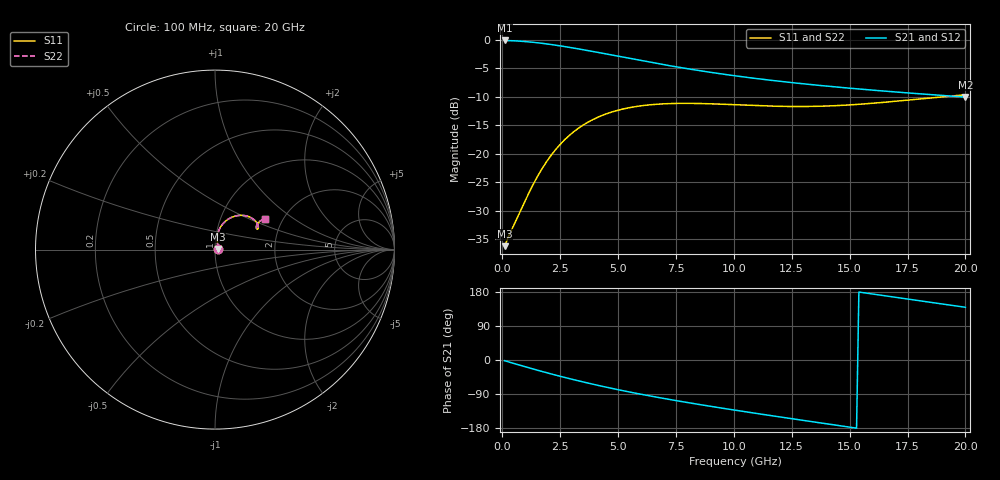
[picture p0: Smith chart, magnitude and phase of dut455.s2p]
! Touchstone file exported from HFSS 2024.1.0
!  File:  C:/UserFiles/LocalFiles/RDL_TSV_Batchsim/temp_RDL_TSV_455_1779726127.aedt
!  Generated:  12:40:04 AM May 26, 2026
!  Design:  RDL_TSV
!  Project:  temp_RDL_TSV_455_1779726127
!  Setup:  Setup1
!  Solution:  Sweep
! Variables:
!  dtsv = 5.34um
!  hbump = 3um
!  htsv = 89.49um
!  ldown = 426.41um
!  lrdl = 450.29um
!  p = 40
!  p1 = 59.46um
!  rhole = 10um
!  subl = 3080.39um
!  t = 450um
!  tdown = 4.63um
!  trdl = 2.62um
!  viad = 10um
!  wdown = 28um
!  wrdl = 28.14um
!  xbump = 18um
# GHz S MA R 50.000000
! Terminal data exported
! Port[1] = TM1_1_T1
! Port[2] = TM1_4_T1
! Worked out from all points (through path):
!   200 points, 100 MHz to 20 GHz, reference 50 ohm
!   highest |S21| = -0.13 dB at 100 MHz (marker M1); lowest = -10.1 dB at 20 GHz (marker M2)
!   group delay of S21, straight-line fit = 29 ps
!   lowest |S11| = -36.2 dB at 100 MHz (marker M3), VSWR 1.03, Z = 51.5 + j0.435 ohm
!   |S11| at or under -10 dB: start of sweep to 19.05 GHz
!   |S22| runs from -36.2 to -9.7 dB; largest |S21 - S12| = 1.4e-14
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0.1  0.01549 15.8  0.9848 -1.9  0.9848 -1.9  0.01549 15.8
! Gamma 0 0 0 0
! Port Impedance 50 0 50 0
0.5  0.02372 48.6  0.9777 -9.2  0.9777 -9.2  0.02372 48.6
0.9  0.03545 67.3  0.9663 -16.3  0.9663 -16.3  0.03544 67.3
1.4  0.05714 78.0  0.9457 -25.0  0.9457 -25.0  0.05713 78.1
1.8  0.07877 80.2  0.9251 -31.7  0.9251 -31.7  0.07876 80.2
2.2  0.1025 79.3  0.9017 -38.2  0.9017 -38.2  0.1025 79.3
2.6  0.127 76.5  0.8766 -44.6  0.8766 -44.6  0.127 76.6
3  0.151 72.9  0.8502 -50.7  0.8502 -50.7  0.151 72.9
3.5  0.1789 67.8  0.8164 -58.1  0.8164 -58.1  0.1789 67.8
4.2  0.2122 60.4  0.7689 -67.9  0.7689 -67.9  0.2122 60.4
4.9  0.2379 53.4  0.7229 -77.1  0.7229 -77.1  0.2378 53.4
5.8  0.26 45.5  0.6676 -88.1  0.6676 -88.1  0.26 45.5
6.8  0.2729 38.4  0.6127 -99.6  0.6127 -99.6  0.2728 38.4
7.5  0.2763 34.4  0.5787 -107.1  0.5787 -107.1  0.2763 34.4
8.3  0.2764 30.8  0.5442 -115.4  0.5442 -115.4  0.2763 30.9
10.1  0.2687 26.4  0.4811 -132.9  0.4811 -132.9  0.2687 26.4
11.7  0.2614 25.9  0.4384 -147.7  0.4384 -147.7  0.2614 25.9
13.4  0.2602 27.7  0.4029 -163.0  0.4029 -163.0  0.2603 27.7
15  0.2681 30.0  0.3758 -177.2  0.3758 -177.2  0.2682 30.1
16.7  0.2852 31.9  0.3517 167.8  0.3517 167.8  0.2854 31.9
18.4  0.3074 32.2  0.3311 153.0  0.3311 153.0  0.3076 32.3
20  0.3288 31.3  0.3142 139.1  0.3142 139.1  0.3291 31.3
